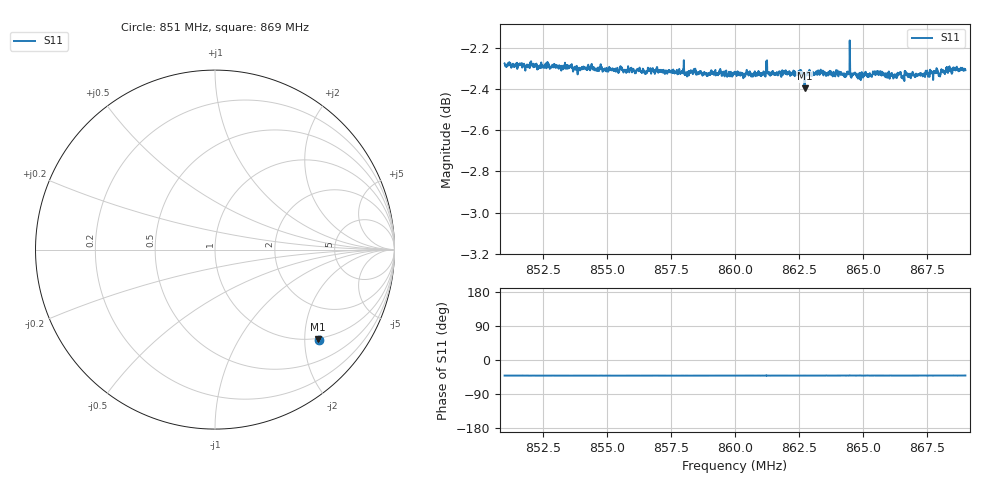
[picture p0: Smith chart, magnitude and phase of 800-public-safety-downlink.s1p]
! Calibrated averaged scanner-service zoom
# Hz S RI R 50
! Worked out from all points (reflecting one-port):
!   2001 points, 851 MHz to 869 MHz, reference 50 ohm
!   lowest |S11| = -2.4 dB at 862.72 MHz (marker M1), VSWR 7.30, Z = 49.3 - j116 ohm
!   phase of S11 starts at -41 deg and turns +0 deg over the sweep
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8.51e8  0.5797 -0.5061
8.5325e8  0.5781 -0.5062
8.53565e8  0.5772 -0.507
8.53925e8  0.5768 -0.5058
8.54438e8  0.5767 -0.507
8.54753e8  0.5796 -0.5057
8.555e8  0.5766 -0.5059
8.5775e8  0.5752 -0.5042
8.6e8  0.5753 -0.5042
8.60333e8  0.5755 -0.5032
8.61098e8  0.5749 -0.5046
8.61287e8  0.5766 -0.5039
8.61377e8  0.5747 -0.5038
8.6225e8  0.5763 -0.5032
8.62547e8  0.5767 -0.504
8.62718e8  0.573 -0.4978
8.63312e8  0.5766 -0.503
8.64257e8  0.5761 -0.5018
8.645e8  0.5778 -0.5028
8.64851e8  0.577 -0.5023
8.65598e8  0.5777 -0.5024
8.66264e8  0.5762 -0.5026
8.6675e8  0.5755 -0.5023
8.67506e8  0.5778 -0.5036
8.68001e8  0.5764 -0.5022
8.68316e8  0.5777 -0.5022
8.68658e8  0.5793 -0.5038
8.69e8  0.5792 -0.5022
